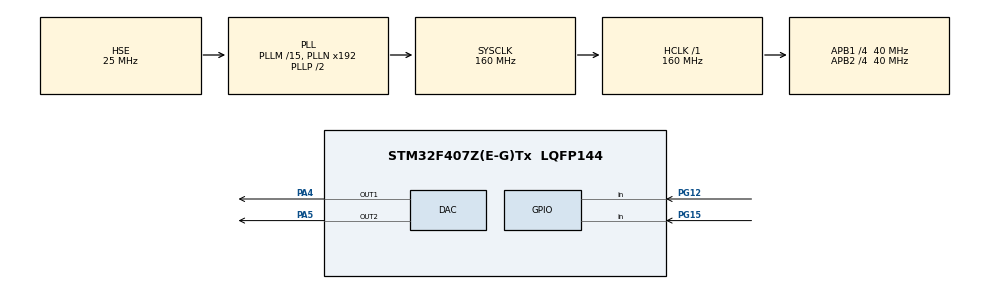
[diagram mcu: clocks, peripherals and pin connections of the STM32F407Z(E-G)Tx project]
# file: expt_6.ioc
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DAC.DAC_Trigger=DAC_TRIGGER_NONE
DAC.DAC_Trigger2=DAC_TRIGGER_T2_TRGO
DAC.TriangleAmplitude2=DAC_TRIANGLEAMPLITUDE_4095
DAC.WaveGeneration2=TriangleWaveGeneration
Mcu.Family=STM32F4
Mcu.Name=STM32F407Z(E-G)Tx
Mcu.Package=LQFP144
NVIC.PriorityGroup=NVIC_PRIORITYGROUP_4
PA13.Mode=Serial_Wire
PA13.Signal=SYS_JTMS-SWDIO
PA14.Mode=Serial_Wire
PA14.Signal=SYS_JTCK-SWCLK
PA4.Signal=COMP_DAC1_group
PA5.Signal=COMP_DAC2_group
PG12.GPIO_PuPd=GPIO_PULLUP
PG12.Signal=GPIO_Input
PG15.GPIO_PuPd=GPIO_PULLUP
PG15.Signal=GPIO_Input
PH0-OSC_IN.Mode=HSE-External-Oscillator
PH0-OSC_IN.Signal=RCC_OSC_IN
PH1-OSC_OUT.Mode=HSE-External-Oscillator
PH1-OSC_OUT.Signal=RCC_OSC_OUT
ProjectManager.HeapSize=0x200
ProjectManager.StackSize=0x400
ProjectManager.TargetToolchain=MDK-ARM V5.32
RCC.48MHZClocksFreq_Value=80000000
RCC.AHBFreq_Value=160000000
RCC.APB1CLKDivider=RCC_HCLK_DIV4
RCC.APB1Freq_Value=40000000
RCC.APB1TimFreq_Value=80000000
RCC.APB2CLKDivider=RCC_HCLK_DIV4
RCC.APB2Freq_Value=40000000
RCC.APB2TimFreq_Value=80000000
RCC.CortexFreq_Value=160000000
RCC.HCLKFreq_Value=160000000
RCC.HSE_VALUE=25000000
RCC.HSI_VALUE=16000000
RCC.LSE_VALUE=32768
RCC.PLLM=15
RCC.PLLSourceVirtual=RCC_PLLSOURCE_HSE
RCC.SYSCLKFreq_VALUE=160000000
RCC.SYSCLKSource=RCC_SYSCLKSOURCE_PLLCLK
RCC.VCOOutputFreq_Value=320000000
SH.COMP_DAC1_group.0=DAC_OUT1,DAC_OUT1
SH.COMP_DAC2_group.0=DAC_OUT2,DAC_OUT2
TIM2.AutoReloadPreload=TIM_AUTORELOAD_PRELOAD_ENABLE
TIM2.Period=200
TIM2.Prescaler=80 - 1
TIM2.TIM_MasterOutputTrigger=TIM_TRGO_UPDATE
VP_TIM2_VS_ClockSourceINT.Mode=Internal
board=custom

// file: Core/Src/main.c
/* USER CODE BEGIN Header */
/**
  ******************************************************************************
  * @file           : main.c
  * @brief          : Main program body
  ******************************************************************************
  * @attention
  *
  * Copyright (c) 2022 STMicroelectronics.
  * All rights reserved.
  *
  * This software is licensed under terms that can be found in the LICENSE file
  * in the root directory of this software component.
  * If no LICENSE file comes with this software, it is provided AS-IS.
  *
  ******************************************************************************
  */
/* USER CODE END Header */
#include "main.h"
#include "dac.h"
#include "tim.h"
#include "gpio.h"

/* USER CODE BEGIN PV */
uint8_t key_up_touch_flag;
uint8_t key_up_release_flag;
uint8_t key_down_touch_flag;
uint8_t key_down_release_flag;
float voltage;
/* USER CODE END PV */

void SystemClock_Config(void);
/* USER CODE BEGIN PFP */
GPIO_PinState KeyStateRead(GPIO_TypeDef* GPIOx, uint16_t GPIO_Pin);
void SetDAC_Voltage(float voltage);
/* USER CODE END PFP */

int main(void)
{

  /* MCU Configuration--------------------------------------------------------*/

  /* Reset of all peripherals, Initializes the Flash interface and the Systick. */
  HAL_Init();

  /* Configure the system clock */
  SystemClock_Config();

  /* Initialize all configured peripherals */
  MX_GPIO_Init();
  MX_DAC_Init();
  MX_TIM2_Init();
  /* USER CODE BEGIN 2 */
	HAL_TIM_Base_Start(&htim2);
	HAL_DAC_Start(&hdac, DAC_CHANNEL_1);
	HAL_DAC_Start(&hdac, DAC_CHANNEL_2);
  /* USER CODE END 2 */

  /* Infinite loop */
  while (1)
  {
    /* USER CODE BEGIN 3 */
		if(KeyStateRead(GPIOG, GPIO_PIN_15) == GPIO_PIN_RESET)
		{
			key_up_touch_flag = 1;
		}
		else if(KeyStateRead(GPIOG, GPIO_PIN_12) == GPIO_PIN_RESET)
		{
			key_down_touch_flag = 1;
		}
		if(KeyStateRead(GPIOG, GPIO_PIN_15) == GPIO_PIN_SET && key_up_touch_flag == 1)
		{
			key_up_release_flag = 1;
		}
		else if(KeyStateRead(GPIOG, GPIO_PIN_12) == GPIO_PIN_SET && key_down_touch_flag == 1)
		{
			key_down_release_flag = 1;
		}
		if(key_up_release_flag == 1)
		{
			voltage += 0.1f;
		}
		if(key_down_release_flag == 1)
		{
			voltage -= 0.1f;
		}
		SetDAC_Voltage(voltage);
		HAL_Delay(1);
  }
  /* USER CODE END 3 */
}

void SystemClock_Config(void)
{
  RCC_OscInitTypeDef RCC_OscInitStruct = {0};
  RCC_ClkInitTypeDef RCC_ClkInitStruct = {0};

  /** Configure the main internal regulator output voltage
  */
  __HAL_RCC_PWR_CLK_ENABLE();
  __HAL_PWR_VOLTAGESCALING_CONFIG(PWR_REGULATOR_VOLTAGE_SCALE1);

  /** Initializes the RCC Oscillators according to the specified parameters
  * in the RCC_OscInitTypeDef structure.
  */
  RCC_OscInitStruct.OscillatorType = RCC_OSCILLATORTYPE_HSE;
  RCC_OscInitStruct.HSEState = RCC_HSE_ON;
  RCC_OscInitStruct.PLL.PLLState = RCC_PLL_ON;
  RCC_OscInitStruct.PLL.PLLSource = RCC_PLLSOURCE_HSE;
  RCC_OscInitStruct.PLL.PLLM = 15;
  RCC_OscInitStruct.PLL.PLLN = 192;
  RCC_OscInitStruct.PLL.PLLP = RCC_PLLP_DIV2;
  RCC_OscInitStruct.PLL.PLLQ = 4;
  if (HAL_RCC_OscConfig(&RCC_OscInitStruct) != HAL_OK)
  {
    Error_Handler();
  }

  /** Initializes the CPU, AHB and APB buses clocks
  */
  RCC_ClkInitStruct.ClockType = RCC_CLOCKTYPE_HCLK|RCC_CLOCKTYPE_SYSCLK
                              |RCC_CLOCKTYPE_PCLK1|RCC_CLOCKTYPE_PCLK2;
  RCC_ClkInitStruct.SYSCLKSource = RCC_SYSCLKSOURCE_PLLCLK;
  RCC_ClkInitStruct.AHBCLKDivider = RCC_SYSCLK_DIV1;
  RCC_ClkInitStruct.APB1CLKDivider = RCC_HCLK_DIV4;
  RCC_ClkInitStruct.APB2CLKDivider = RCC_HCLK_DIV4;

  if (HAL_RCC_ClockConfig(&RCC_ClkInitStruct, FLASH_LATENCY_5) != HAL_OK)
  {
    Error_Handler();
  }
}

/* USER CODE BEGIN 4 */
GPIO_PinState KeyStateRead(GPIO_TypeDef* GPIOx, uint16_t GPIO_Pin)
{
	if(HAL_GPIO_ReadPin(GPIOx, GPIO_Pin) == GPIO_PIN_RESET)
	{
		HAL_Delay(10);
		if(HAL_GPIO_ReadPin(GPIOx, GPIO_Pin) == GPIO_PIN_RESET)
		{
			return GPIO_PIN_RESET;
		}
		else
		{
			return GPIO_PIN_SET;
		}
	}
	return GPIO_PIN_SET;
}

void SetDAC_Voltage(float voltage)
{
	uint32_t data;
	data = (uint32_t)((voltage / 3.3f) * 4096);
	HAL_DAC_SetValue(&hdac, DAC_CHANNEL_1, DAC_ALIGN_12B_R, data);
}
/* USER CODE END 4 */

void Error_Handler(void)
{
  __disable_irq();
  while (1)
  {
  }
}
